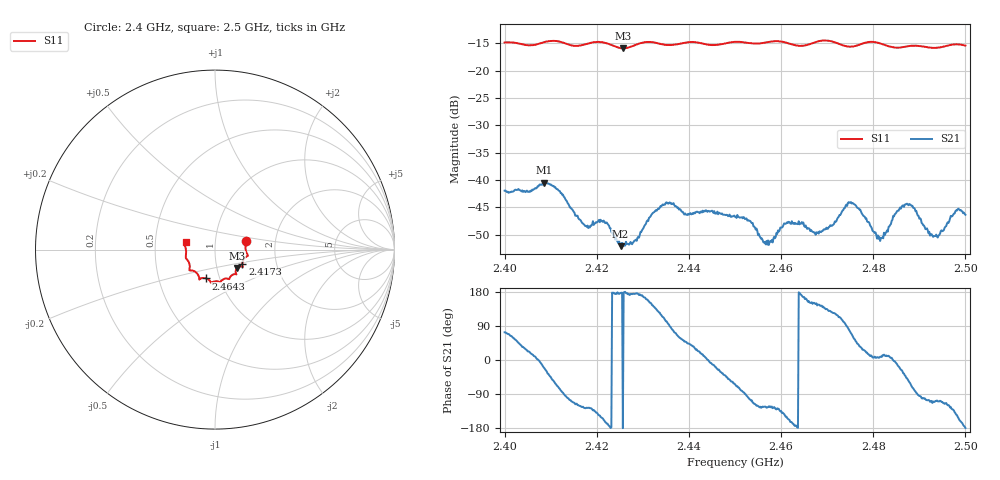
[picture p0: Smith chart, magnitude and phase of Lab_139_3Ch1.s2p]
# Hz S RI R 50
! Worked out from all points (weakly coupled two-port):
!   601 points, 2.4 GHz to 2.5 GHz, reference 50 ohm
!   highest |S21| = -40.49 dB at 2.4085 GHz (marker M1); lowest = -52.1 dB at 2.4252 GHz (marker M2)
!   lowest |S11| = -15.9 dB at 2.4257 GHz (marker M3), VSWR 1.38, Z = 62.4 - j13.1 ohm
!   |S11| at or under -10 dB: start of sweep to end of sweep
!   S12 and S22 are empty: the file has one direction only
!   S11 on the Smith chart (normalised r, x): 2.4 GHz: 1.41, +0.14; 2.4173 GHz: 1.34, -0.23; 2.4643 GHz: 0.86, -0.28; 2.5 GHz: 0.72, +0.06
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2.4e9  0.1735 0.0496  0.00232 0.00765  0 0  0 0
2.4085e9  0.1798 -0.0247  0.00888 -0.00322  0 0  0 0
2.416667e9  0.1529 -0.0748  -0.00232 -0.00347  0 0  0 0
2.417333e9  0.1524 -0.0821  -0.0023 -0.00313  0 0  0 0
2.421833e9  0.1521 -0.0948  -0.00387 -0.00114  0 0  0 0
2.425167e9  0.126 -0.0989  -0.00248 0.000123  0 0  0 0
2.425667e9  0.1226 -0.1023  -0.00252 -5.56e-06  0 0  0 0
2.428667e9  0.1158 -0.1291  -0.00278 0.000185  0 0  0 0
2.433333e9  0.1127 -0.1366  -0.0034 0.00431  0 0  0 0
2.45e9  0.0297 -0.1806  0.00202 -0.00415  0 0  0 0
2.456833e9  -0.0125 -0.1805  -0.00162 -0.00225  0 0  0 0
2.461167e9  -0.0262 -0.1775  -0.00349 -0.00204  0 0  0 0
2.464333e9  -0.0503 -0.1605  -0.00396 0.000532  0 0  0 0
2.466667e9  -0.0763 -0.1597  -0.00303 0.00158  0 0  0 0
2.471e9  -0.0869 -0.163  -0.00226 0.00307  0 0  0 0
2.475e9  -0.1066 -0.1262  0.00176 0.00597  0 0  0 0
2.481167e9  -0.1423 -0.1084  0.00289 0.0003  0 0  0 0
2.483333e9  -0.1408 -0.0894  0.00366 0.000724  0 0  0 0
2.487333e9  -0.1574 -0.0543  0.00405 -0.00454  0 0  0 0
2.4935e9  -0.161 -0.0074  -0.000952 -0.00293  0 0  0 0
2.498167e9  -0.1707 0.0321  -0.00433 -0.00299  0 0  0 0
2.5e9  -0.1638 0.042  -0.00482 -6.08e-05  0 0  0 0
